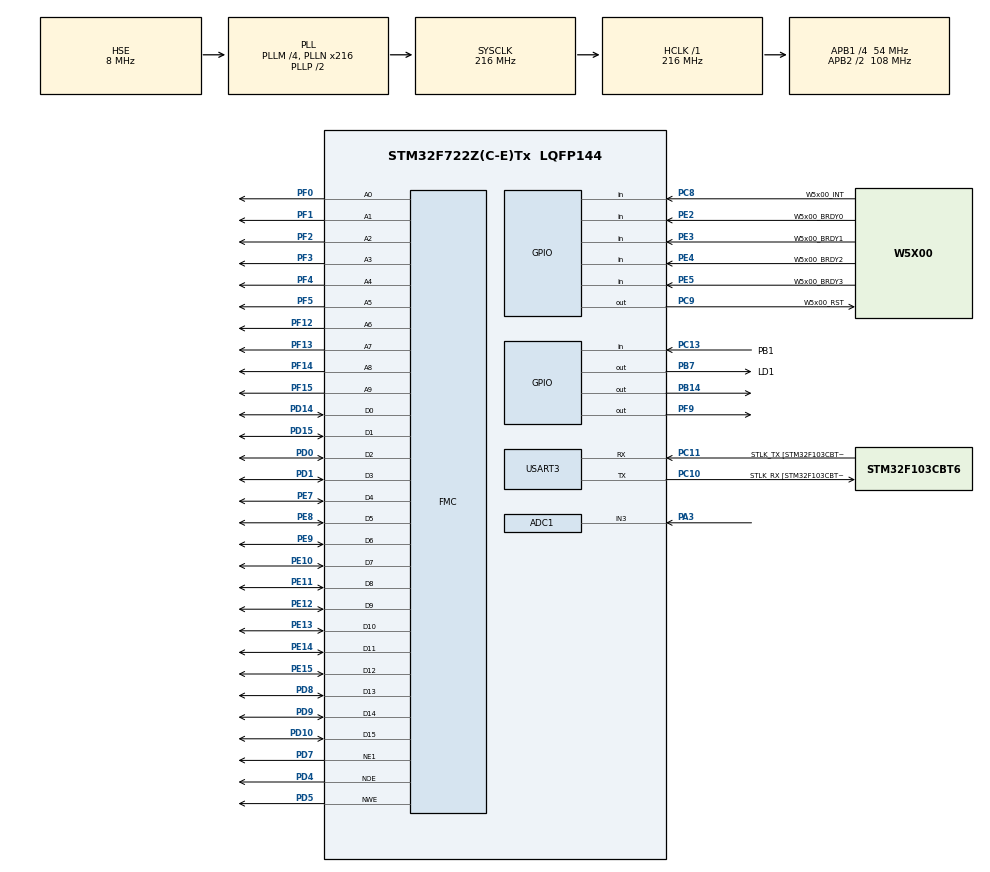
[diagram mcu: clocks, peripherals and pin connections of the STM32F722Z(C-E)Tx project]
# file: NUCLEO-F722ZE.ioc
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ADC1.Channel-0\#ChannelRegularConversion=ADC_CHANNEL_3
ADC1.NbrOfConversionFlag=1
ADC1.Rank-0\#ChannelRegularConversion=1
ADC1.SamplingTime-0\#ChannelRegularConversion=ADC_SAMPLETIME_3CYCLES
ADC1.master=1
FMC.WriteOperation1=FMC_WRITE_OPERATION_ENABLE
Mcu.Family=STM32F7
Mcu.Name=STM32F722Z(C-E)Tx
Mcu.Package=LQFP144
NVIC.PriorityGroup=NVIC_PRIORITYGROUP_4
PA13.GPIO_Label=TMS
PA13.Mode=Serial_Wire
PA13.Signal=SYS_JTMS-SWDIO
PA14.GPIO_Label=TCK
PA14.Mode=Serial_Wire
PA14.Signal=SYS_JTCK-SWCLK
PA3.Signal=ADCx_IN3
PB14.Signal=GPIO_Output
PB7.GPIO_Label=LD1
PB7.Signal=GPIO_Output
PC10.GPIO_Label=STLK_RX [STM32F103CBT6_PA3]
PC10.Mode=Asynchronous
PC10.Signal=USART3_TX
PC11.GPIO_Label=STLK_TX [STM32F103CBT6_PA2]
PC11.Mode=Asynchronous
PC11.Signal=USART3_RX
PC13.GPIO_Label=PB1
PC13.Signal=GPIO_Input
PC14-OSC32_IN.Signal=RCC_OSC32_IN
PC15-OSC32_OUT.Signal=RCC_OSC32_OUT
PC8.GPIO_Label=W5x00_INT
PC8.Signal=GPIO_Input
PC9.GPIO_Label=W5x00_RST
PC9.GPIO_PuPd=GPIO_PULLUP
PC9.PinState=GPIO_PIN_SET
PC9.Signal=GPIO_Output
PD0.Signal=FMC_D2_DA2
PD1.Signal=FMC_D3_DA3
PD10.Signal=FMC_D15_DA15
PD14.Signal=FMC_D0_DA0
PD15.Signal=FMC_D1_DA1
PD4.Signal=FMC_NOE
PD5.Signal=FMC_NWE
PD7.Mode=NorPsramChipSelect1_1
PD7.Signal=FMC_NE1
PD8.Signal=FMC_D13_DA13
PD9.Signal=FMC_D14_DA14
PE10.Signal=FMC_D7_DA7
PE11.Signal=FMC_D8_DA8
PE12.Signal=FMC_D9_DA9
PE13.Signal=FMC_D10_DA10
PE14.Signal=FMC_D11_DA11
PE15.Signal=FMC_D12_DA12
PE2.GPIO_Label=W5x00_BRDY0
PE2.Signal=GPIO_Input
PE3.GPIO_Label=W5x00_BRDY1
PE3.Signal=GPIO_Input
PE4.GPIO_Label=W5x00_BRDY2
PE4.Signal=GPIO_Input
PE5.GPIO_Label=W5x00_BRDY3
PE5.Signal=GPIO_Input
PE7.Signal=FMC_D4_DA4
PE8.Signal=FMC_D5_DA5
PE9.Signal=FMC_D6_DA6
PF0.Signal=FMC_A0
PF1.Signal=FMC_A1
PF12.Signal=FMC_A6
PF13.Signal=FMC_A7
PF14.Signal=FMC_A8
PF15.Signal=FMC_A9
PF2.Signal=FMC_A2
PF3.Signal=FMC_A3
PF4.Signal=FMC_A4
PF5.Signal=FMC_A5
PF9.Signal=GPIO_Output
PH0-OSC_IN.GPIO_Label=MCO
PH0-OSC_IN.Mode=HSE-External-Oscillator
PH0-OSC_IN.Signal=RCC_OSC_IN
PH1-OSC_OUT.Mode=HSE-External-Oscillator
PH1-OSC_OUT.Signal=RCC_OSC_OUT
ProjectManager.HeapSize=0x10000
ProjectManager.StackSize=0x8000
ProjectManager.TargetToolchain=STM32CubeIDE
RCC.48MHZClocksFreq_Value=24000000
RCC.AHBFreq_Value=216000000
RCC.APB1CLKDivider=RCC_HCLK_DIV4
RCC.APB1Freq_Value=54000000
RCC.APB1TimFreq_Value=108000000
RCC.APB2CLKDivider=RCC_HCLK_DIV2
RCC.APB2Freq_Value=108000000
RCC.APB2TimFreq_Value=216000000
RCC.CortexFreq_Value=216000000
RCC.HCLKFreq_Value=216000000
RCC.HSE_VALUE=8000000
RCC.HSI_VALUE=16000000
RCC.LSE_VALUE=32768
RCC.PLLM=4
RCC.PLLMUL=RCC_PLL_MUL9
RCC.PLLN=216
RCC.PLLQ=9
RCC.PLLSourceVirtual=RCC_PLLSOURCE_HSE
RCC.PRESCALERUSB=RCC_USBCLKSOURCE_PLL_DIV1_5
RCC.SYSCLKFreq_VALUE=216000000
RCC.SYSCLKSource=RCC_SYSCLKSOURCE_PLLCLK
RCC.SYSCLKSourceVirtual=RCC_SYSCLKSOURCE_PLLCLK
RCC.USBFreq_Value=48000000
RCC.VCOOutputFreq_Value=432000000
SH.ADCx_IN3.0=ADC1_IN3,IN3
SH.FMC_A0.0=FMC_A0,10b-a1
SH.FMC_A1.0=FMC_A1,10b-a1
SH.FMC_A2.0=FMC_A2,10b-a1
SH.FMC_A3.0=FMC_A3,10b-a1
SH.FMC_A4.0=FMC_A4,10b-a1
SH.FMC_A5.0=FMC_A5,10b-a1
SH.FMC_A6.0=FMC_A6,10b-a1
SH.FMC_A7.0=FMC_A7,10b-a1
SH.FMC_A8.0=FMC_A8,10b-a1
SH.FMC_A9.0=FMC_A9,10b-a1
SH.FMC_D0_DA0.0=FMC_D0,16b-d1
SH.FMC_D10_DA10.0=FMC_D10,16b-d1
SH.FMC_D11_DA11.0=FMC_D11,16b-d1
SH.FMC_D12_DA12.0=FMC_D12,16b-d1
SH.FMC_D13_DA13.0=FMC_D13,16b-d1
SH.FMC_D14_DA14.0=FMC_D14,16b-d1
SH.FMC_D15_DA15.0=FMC_D15,16b-d1
SH.FMC_D1_DA1.0=FMC_D1,16b-d1
SH.FMC_D2_DA2.0=FMC_D2,16b-d1
SH.FMC_D3_DA3.0=FMC_D3,16b-d1
SH.FMC_D4_DA4.0=FMC_D4,16b-d1
SH.FMC_D5_DA5.0=FMC_D5,16b-d1
SH.FMC_D6_DA6.0=FMC_D6,16b-d1
SH.FMC_D7_DA7.0=FMC_D7,16b-d1
SH.FMC_D8_DA8.0=FMC_D8,16b-d1
SH.FMC_D9_DA9.0=FMC_D9,16b-d1
SH.FMC_NOE.0=FMC_NOE,Sram1
SH.FMC_NWE.0=FMC_NWE,Sram1
USART3.VirtualMode-Asynchronous=VM_ASYNC
board=NUCLEO-F722ZE

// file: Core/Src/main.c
/* USER CODE BEGIN Header */
/**
  ******************************************************************************
  * @file           : main.c
  * @brief          : Main program body
  ******************************************************************************
  * @attention
  *
  * Copyright (c) 2023 STMicroelectronics.
  * All rights reserved.
  *
  * This software is licensed under terms that can be found in the LICENSE file
  * in the root directory of this software component.
  * If no LICENSE file comes with this software, it is provided AS-IS.
  *
  ******************************************************************************
  */
/* USER CODE END Header */
#include "main.h"

/* USER CODE BEGIN Includes */
#include <stdio.h>

#include "wizchip_conf.h"
#include "w5x00_demo.h"
/* USER CODE END Includes */

/* USER CODE BEGIN PM */
#ifdef __GNUC__
/* With GCC/RAISONANCE, small printf (option LD Linker->Libraries->Small printf set to 'Yes') calls __io_putchar() */
#define PUTCHAR_PROTOTYPE int __io_putchar(int ch)
#else
#define PUTCHAR_PROTOTYPE int fputc(int ch, FILE *f)
#endif /* __GNUC__ */
/* USER CODE END PM */

ADC_HandleTypeDef hadc1;

UART_HandleTypeDef huart3;

SRAM_HandleTypeDef hsram1;

void SystemClock_Config(void);
static void MX_GPIO_Init(void);
static void MX_USART3_UART_Init(void);
static void MX_FMC_Init(void);
static void MX_ADC1_Init(void);
/* USER CODE BEGIN PFP */
/**
 * @brief  Retargets the C library printf function to the USART.
 * @param  None
 * @retval None
 */
PUTCHAR_PROTOTYPE
{
  /* Place your implementation of fputc here */
  /* e.g. write a character to the USART3 and Loop until the end of transmission */
  HAL_UART_Transmit(&huart3, (uint8_t *)&ch, 1, 0xFF);

  return ch;
}
/* USER CODE END PFP */

int main(void)
{
  /* USER CODE BEGIN 1 */
  wiz_NetInfo net_info =
      {
          .mac = {0x00, 0x08, 0xDC, 0x12, 0x34, 0x56}, // MAC address
          .ip = {192, 168, 0, 100},                     // IP address
          .sn = {255, 255, 255, 0},                    // Subnet Mask
          .gw = {192, 168, 0, 1},                     // Gateway
          .dns = {8, 8, 8, 8},                         // DNS server
#ifdef APP_DHCP
          .dhcp = NETINFO_DHCP                         // Dynamic IP
#else
          .dhcp = NETINFO_STATIC                       // Static IP
#endif
      };
  /* USER CODE END 1 */

  /* MCU Configuration--------------------------------------------------------*/

  /* Reset of all peripherals, Initializes the Flash interface and the Systick. */
  HAL_Init();

  /* Configure the system clock */
  SystemClock_Config();

  /* Initialize all configured peripherals */
  MX_GPIO_Init();
  MX_USART3_UART_Init();
  MX_FMC_Init();
  MX_ADC1_Init();
  /* USER CODE BEGIN 2 */
// ----------------------------------------------------------------------------------------------------
// Call main function - example funcion
// Select one application
// ----------------------------------------------------------------------------------------------------
#ifdef APP_DHCP
  dhcp_demo(&net_info);
#endif /* APP_DHCP */
#ifdef APP_DNS
  dns_demo(&net_info);
#endif /* APP_DNS */
#ifdef APP_HTTP_SERVER
  http_server_demo(&net_info);
#endif /* APP_HTTP_SERVER */
#ifdef APP_MQTT_PUBLISH
  mqtt_publish_demo(&net_info);
#endif /* APP_MQTT_PUBLISH */
#ifdef APP_MQTT_SUBSCRIBE
  mqtt_subscribe_demo(&net_info);
#endif /* APP_MQTT_SUBSCRIBE */
#ifdef APP_MQTT_PUBLISH_SUBSCRIBE
  mqtt_publish_subscribe_demo(&net_info);
#endif /* APP_MQTT_PUBLISH_SUBSCRIBE */
#ifdef APP_SNTP
  sntp_demo(&net_info);
#endif /* APP_SNTP */
#ifdef APP_TCP_CLIENT_OVER_SSL
  tcp_client_over_ssl_demo(&net_info);
#endif /* APP_TCP_CLIENT_OVER_SSL */
#ifdef APP_LOOPBACK
  loopback_demo(&net_info);
#endif /* APP_LOOPBACK */
// ----------------------------------------------------------------------------------------------------
  /* USER CODE END 2 */

  /* Infinite loop */
  /* USER CODE BEGIN WHILE */
  while (1)
  {
	  int hours, minutes;
	  hours = get_time_hour(&net_info);
	  minutes = get_time_minutes(&net_info);
	  int target1 = 7;
	  int target2 = 17;
	  int water_flag = 0;

	  HAL_ADC_Start(&hadc1);
	  HAL_ADC_PollForConversion(&hadc1, HAL_MAX_DELAY);
	  uint16_t adcValue = HAL_ADC_GetValue(&hadc1);
	  printf(" Current ADC : %d\n", adcValue);
	  HAL_ADC_Stop(&hadc1);

	  if (hours == target1 && minutes == 0 && water_flag == 0){
		  if (adcValue > 3000){ // Arid Soil
			  HAL_GPIO_WritePin(GPIOB, LD1_Pin, GPIO_PIN_RESET); //Active Low Relay
			  HAL_Delay(15000);
			  HAL_GPIO_WritePin(GPIOB, LD1_Pin, GPIO_PIN_SET); //Active Low Relay
			  water_flag = 1;
		  }

		  if (adcValue > 1900){ //Moist Soil
			  HAL_GPIO_WritePin(GPIOB, LD1_Pin, GPIO_PIN_RESET); //Active Low Relay
			  HAL_Delay(7000);
			  HAL_GPIO_WritePin(GPIOB, LD1_Pin, GPIO_PIN_SET); //Active Low Relay
			  water_flag = 1;
		  }

		  if (adcValue > 1000){ // Wet Soil
			  HAL_GPIO_WritePin(GPIOB, LD1_Pin, GPIO_PIN_RESET); //Active Low Relay
			  HAL_Delay(3000);
			  HAL_GPIO_WritePin(GPIOB, LD1_Pin, GPIO_PIN_SET); //Active Low Relay
			  water_flag = 1;
		  }
	  }
	  if ((target1 + 1) == hours){
		  water_flag = 0;
	  }

	  if (hours == target2 && minutes == 0 && water_flag == 0){
		  if (adcValue > 3000){ // Arid Soil
			  HAL_GPIO_WritePin(GPIOB, LD1_Pin, GPIO_PIN_RESET); //Active Low Relay
			  HAL_Delay(15000);
			  HAL_GPIO_WritePin(GPIOB, LD1_Pin, GPIO_PIN_SET); //Active Low Relay
			  water_flag = 1;
		  }

		  if (adcValue > 1900){ //Moist Soil
			  HAL_GPIO_WritePin(GPIOB, LD1_Pin, GPIO_PIN_RESET); //Active Low Relay
			  HAL_Delay(7000);
			  HAL_GPIO_WritePin(GPIOB, LD1_Pin, GPIO_PIN_SET); //Active Low Relay
			  water_flag = 1;
		  }

		  if (adcValue > 1000){ // Wet Soil
			  HAL_GPIO_WritePin(GPIOB, LD1_Pin, GPIO_PIN_RESET); //Active Low Relay
			  HAL_Delay(3000);
			  HAL_GPIO_WritePin(GPIOB, LD1_Pin, GPIO_PIN_SET); //Active Low Relay
			  water_flag = 1;
		  }
	  }
	  if ((target2 + 1) == hours){
		  water_flag = 0;
	  }

    /* USER CODE END WHILE */

  }
}

void SystemClock_Config(void)
{
  RCC_OscInitTypeDef RCC_OscInitStruct = {0};
  RCC_ClkInitTypeDef RCC_ClkInitStruct = {0};

  /** Configure the main internal regulator output voltage
  */
  __HAL_RCC_PWR_CLK_ENABLE();
  __HAL_PWR_VOLTAGESCALING_CONFIG(PWR_REGULATOR_VOLTAGE_SCALE1);

  /** Initializes the RCC Oscillators according to the specified parameters
  * in the RCC_OscInitTypeDef structure.
  */
  RCC_OscInitStruct.OscillatorType = RCC_OSCILLATORTYPE_HSE;
  RCC_OscInitStruct.HSEState = RCC_HSE_ON;
  RCC_OscInitStruct.PLL.PLLState = RCC_PLL_ON;
  RCC_OscInitStruct.PLL.PLLSource = RCC_PLLSOURCE_HSE;
  RCC_OscInitStruct.PLL.PLLM = 4;
  RCC_OscInitStruct.PLL.PLLN = 216;
  RCC_OscInitStruct.PLL.PLLP = RCC_PLLP_DIV2;
  RCC_OscInitStruct.PLL.PLLQ = 9;
  if (HAL_RCC_OscConfig(&RCC_OscInitStruct) != HAL_OK)
  {
    Error_Handler();
  }

  /** Activate the Over-Drive mode
  */
  if (HAL_PWREx_EnableOverDrive() != HAL_OK)
  {
    Error_Handler();
  }

  /** Initializes the CPU, AHB and APB buses clocks
  */
  RCC_ClkInitStruct.ClockType = RCC_CLOCKTYPE_HCLK|RCC_CLOCKTYPE_SYSCLK
                              |RCC_CLOCKTYPE_PCLK1|RCC_CLOCKTYPE_PCLK2;
  RCC_ClkInitStruct.SYSCLKSource = RCC_SYSCLKSOURCE_PLLCLK;
  RCC_ClkInitStruct.AHBCLKDivider = RCC_SYSCLK_DIV1;
  RCC_ClkInitStruct.APB1CLKDivider = RCC_HCLK_DIV4;
  RCC_ClkInitStruct.APB2CLKDivider = RCC_HCLK_DIV2;

  if (HAL_RCC_ClockConfig(&RCC_ClkInitStruct, FLASH_LATENCY_7) != HAL_OK)
  {
    Error_Handler();
  }
}

static void MX_ADC1_Init(void)
{

  ADC_ChannelConfTypeDef sConfig = {0};

  /** Configure the global features of the ADC (Clock, Resolution, Data Alignment and number of conversion)
  */
  hadc1.Instance = ADC1;
  hadc1.Init.ClockPrescaler = ADC_CLOCK_SYNC_PCLK_DIV4;
  hadc1.Init.Resolution = ADC_RESOLUTION_12B;
  hadc1.Init.ScanConvMode = ADC_SCAN_DISABLE;
  hadc1.Init.ContinuousConvMode = DISABLE;
  hadc1.Init.DiscontinuousConvMode = DISABLE;
  hadc1.Init.ExternalTrigConvEdge = ADC_EXTERNALTRIGCONVEDGE_NONE;
  hadc1.Init.ExternalTrigConv = ADC_SOFTWARE_START;
  hadc1.Init.DataAlign = ADC_DATAALIGN_RIGHT;
  hadc1.Init.NbrOfConversion = 1;
  hadc1.Init.DMAContinuousRequests = DISABLE;
  hadc1.Init.EOCSelection = ADC_EOC_SINGLE_CONV;
  if (HAL_ADC_Init(&hadc1) != HAL_OK)
  {
    Error_Handler();
  }

  /** Configure for the selected ADC regular channel its corresponding rank in the sequencer and its sample time.
  */
  sConfig.Channel = ADC_CHANNEL_3;
  sConfig.Rank = ADC_REGULAR_RANK_1;
  sConfig.SamplingTime = ADC_SAMPLETIME_3CYCLES;
  if (HAL_ADC_ConfigChannel(&hadc1, &sConfig) != HAL_OK)
  {
    Error_Handler();
  }

}

static void MX_USART3_UART_Init(void)
{

  huart3.Instance = USART3;
  huart3.Init.BaudRate = 115200;
  huart3.Init.WordLength = UART_WORDLENGTH_8B;
  huart3.Init.StopBits = UART_STOPBITS_1;
  huart3.Init.Parity = UART_PARITY_NONE;
  huart3.Init.Mode = UART_MODE_TX_RX;
  huart3.Init.HwFlowCtl = UART_HWCONTROL_NONE;
  huart3.Init.OverSampling = UART_OVERSAMPLING_16;
  huart3.Init.OneBitSampling = UART_ONE_BIT_SAMPLE_DISABLE;
  huart3.AdvancedInit.AdvFeatureInit = UART_ADVFEATURE_NO_INIT;
  if (HAL_UART_Init(&huart3) != HAL_OK)
  {
    Error_Handler();
  }

}

/* FMC initialization function */
static void MX_FMC_Init(void)
{

  FMC_NORSRAM_TimingTypeDef Timing = {0};

  /** Perform the SRAM1 memory initialization sequence
  */
  hsram1.Instance = FMC_NORSRAM_DEVICE;
  hsram1.Extended = FMC_NORSRAM_EXTENDED_DEVICE;
  /* hsram1.Init */
  hsram1.Init.NSBank = FMC_NORSRAM_BANK1;
  hsram1.Init.DataAddressMux = FMC_DATA_ADDRESS_MUX_DISABLE;
  hsram1.Init.MemoryType = FMC_MEMORY_TYPE_SRAM;
  hsram1.Init.MemoryDataWidth = FMC_NORSRAM_MEM_BUS_WIDTH_16;
  hsram1.Init.BurstAccessMode = FMC_BURST_ACCESS_MODE_DISABLE;
  hsram1.Init.WaitSignalPolarity = FMC_WAIT_SIGNAL_POLARITY_LOW;
  hsram1.Init.WaitSignalActive = FMC_WAIT_TIMING_BEFORE_WS;
  hsram1.Init.WriteOperation = FMC_WRITE_OPERATION_ENABLE;
  hsram1.Init.WaitSignal = FMC_WAIT_SIGNAL_DISABLE;
  hsram1.Init.ExtendedMode = FMC_EXTENDED_MODE_DISABLE;
  hsram1.Init.AsynchronousWait = FMC_ASYNCHRONOUS_WAIT_DISABLE;
  hsram1.Init.WriteBurst = FMC_WRITE_BURST_DISABLE;
  hsram1.Init.ContinuousClock = FMC_CONTINUOUS_CLOCK_SYNC_ONLY;
  hsram1.Init.WriteFifo = FMC_WRITE_FIFO_ENABLE;
  hsram1.Init.PageSize = FMC_PAGE_SIZE_NONE;
  /* Timing */
  Timing.AddressSetupTime = 15;
  Timing.AddressHoldTime = 15;
  Timing.DataSetupTime = 255;
  Timing.BusTurnAroundDuration = 15;
  Timing.CLKDivision = 16;
  Timing.DataLatency = 17;
  Timing.AccessMode = FMC_ACCESS_MODE_A;
  /* ExtTiming */

  if (HAL_SRAM_Init(&hsram1, &Timing, NULL) != HAL_OK)
  {
    Error_Handler( );
  }

  /* USER CODE BEGIN FMC_Init 2 */
  // overwrite
  Timing.AddressSetupTime = 1;
  Timing.AddressHoldTime = 1;
  Timing.DataSetupTime = 7;
  Timing.BusTurnAroundDuration = 0;
  Timing.CLKDivision = 2;
  Timing.DataLatency = 2;
  Timing.AccessMode = FMC_ACCESS_MODE_A;

  if (HAL_SRAM_Init(&hsram1, &Timing, NULL) != HAL_OK)
  {
    Error_Handler();
  }
  /* USER CODE END FMC_Init 2 */
}

static void MX_GPIO_Init(void)
{
  GPIO_InitTypeDef GPIO_InitStruct = {0};

  /* GPIO Ports Clock Enable */
  __HAL_RCC_GPIOE_CLK_ENABLE();
  __HAL_RCC_GPIOC_CLK_ENABLE();
  __HAL_RCC_GPIOF_CLK_ENABLE();
  __HAL_RCC_GPIOH_CLK_ENABLE();
  __HAL_RCC_GPIOA_CLK_ENABLE();
  __HAL_RCC_GPIOB_CLK_ENABLE();
  __HAL_RCC_GPIOD_CLK_ENABLE();

  /*Configure GPIO pin Output Level */
  HAL_GPIO_WritePin(GPIOF, GPIO_PIN_9, GPIO_PIN_RESET);

  /*Configure GPIO pin Output Level */
  HAL_GPIO_WritePin(GPIOB, GPIO_PIN_14|LD1_Pin, GPIO_PIN_RESET);

  /*Configure GPIO pin Output Level */
  HAL_GPIO_WritePin(W5x00_RST_GPIO_Port, W5x00_RST_Pin, GPIO_PIN_SET);

  /*Configure GPIO pins : W5x00_BRDY0_Pin W5x00_BRDY1_Pin W5x00_BRDY2_Pin W5x00_BRDY3_Pin */
  GPIO_InitStruct.Pin = W5x00_BRDY0_Pin|W5x00_BRDY1_Pin|W5x00_BRDY2_Pin|W5x00_BRDY3_Pin;
  GPIO_InitStruct.Mode = GPIO_MODE_INPUT;
  GPIO_InitStruct.Pull = GPIO_NOPULL;
  HAL_GPIO_Init(GPIOE, &GPIO_InitStruct);

  /*Configure GPIO pins : PB1_Pin W5x00_INT_Pin */
  GPIO_InitStruct.Pin = PB1_Pin|W5x00_INT_Pin;
  GPIO_InitStruct.Mode = GPIO_MODE_INPUT;
  GPIO_InitStruct.Pull = GPIO_NOPULL;
  HAL_GPIO_Init(GPIOC, &GPIO_InitStruct);

  /*Configure GPIO pin : PF9 */
  GPIO_InitStruct.Pin = GPIO_PIN_9;
  GPIO_InitStruct.Mode = GPIO_MODE_OUTPUT_PP;
  GPIO_InitStruct.Pull = GPIO_NOPULL;
  GPIO_InitStruct.Speed = GPIO_SPEED_FREQ_LOW;
  HAL_GPIO_Init(GPIOF, &GPIO_InitStruct);

  /*Configure GPIO pins : PB14 LD1_Pin */
  GPIO_InitStruct.Pin = GPIO_PIN_14|LD1_Pin;
  GPIO_InitStruct.Mode = GPIO_MODE_OUTPUT_PP;
  GPIO_InitStruct.Pull = GPIO_NOPULL;
  GPIO_InitStruct.Speed = GPIO_SPEED_FREQ_LOW;
  HAL_GPIO_Init(GPIOB, &GPIO_InitStruct);

  /*Configure GPIO pin : W5x00_RST_Pin */
  GPIO_InitStruct.Pin = W5x00_RST_Pin;
  GPIO_InitStruct.Mode = GPIO_MODE_OUTPUT_PP;
  GPIO_InitStruct.Pull = GPIO_PULLUP;
  GPIO_InitStruct.Speed = GPIO_SPEED_FREQ_LOW;
  HAL_GPIO_Init(W5x00_RST_GPIO_Port, &GPIO_InitStruct);

}

void Error_Handler(void)
{
  __disable_irq();
  while (1)
  {
  }
}
